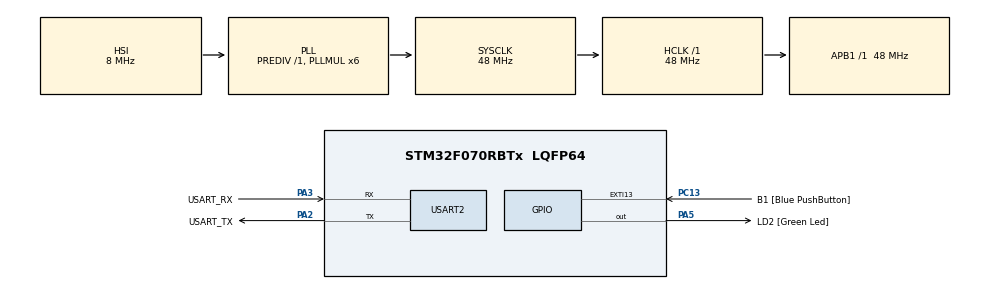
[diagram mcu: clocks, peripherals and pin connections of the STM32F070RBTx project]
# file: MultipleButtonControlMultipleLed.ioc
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Mcu.Family=STM32F0
Mcu.Name=STM32F070RBTx
Mcu.Package=LQFP64
PA13.GPIO_Label=TMS
PA13.Mode=Serial_Wire
PA13.Signal=SYS_SWDIO
PA14.GPIO_Label=TCK
PA14.Mode=Serial_Wire
PA14.Signal=SYS_SWCLK
PA2.GPIO_Label=USART_TX
PA2.Mode=Asynchronous
PA2.Signal=USART2_TX
PA3.GPIO_Label=USART_RX
PA3.Mode=Asynchronous
PA3.Signal=USART2_RX
PA5.GPIO_Label=LD2 [Green Led]
PA5.Signal=GPIO_Output
PC13.GPIO_Label=B1 [Blue PushButton]
PC13.GPIO_ModeDefaultEXTI=GPIO_MODE_IT_FALLING
PC13.Signal=GPXTI13
PC14-OSC32_IN.GPIO_Label=RCC_OSC32_IN
PC14-OSC32_IN.Mode=LSE-External-Oscillator
PC14-OSC32_IN.Signal=RCC_OSC32_IN
PC15-OSC32_OUT.GPIO_Label=RCC_OSC32_OUT
PC15-OSC32_OUT.Mode=LSE-External-Oscillator
PC15-OSC32_OUT.Signal=RCC_OSC32_OUT
PF0-OSC_IN.GPIO_Label=RCC_OSC_IN
PF0-OSC_IN.Mode=HSE-External-Clock-Source
PF0-OSC_IN.Signal=RCC_OSC_IN
PF1-OSC_OUT.GPIO_Label=RCC_OSC_OUT
PF1-OSC_OUT.Signal=RCC_OSC_OUT
ProjectManager.HeapSize=0x200
ProjectManager.StackSize=0x400
ProjectManager.TargetToolchain=STM32CubeIDE
RCC.AHBFreq_Value=48000000
RCC.APB1Freq_Value=48000000
RCC.APB1TimFreq_Value=48000000
RCC.HCLKFreq_Value=48000000
RCC.PLLMUL=RCC_PLL_MUL6
RCC.SYSCLKFreq_VALUE=48000000
RCC.SYSCLKSource=RCC_SYSCLKSOURCE_PLLCLK
USART2.VirtualMode-Asynchronous=VM_ASYNC
board=NUCLEO-F070RB

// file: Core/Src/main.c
/* USER CODE BEGIN Header */
/**
  ******************************************************************************
  * @file           : main.c
  * @brief          : Main program body
  ******************************************************************************
  * @attention
  *
  * <h2><center>&copy; Copyright (c) 2021 STMicroelectronics.
  * All rights reserved.</center></h2>
  *
  * This software component is licensed by ST under BSD 3-Clause license,
  * the "License"; You may not use this file except in compliance with the
  * License. You may obtain a copy of the License at:
  *                        opensource.org/licenses/BSD-3-Clause
  *
  ******************************************************************************
  */
/* USER CODE END Header */
#include "main.h"

UART_HandleTypeDef huart2;

void SystemClock_Config(void);
static void MX_GPIO_Init(void);
static void MX_USART2_UART_Init(void);
/* USER CODE BEGIN PFP */
void GPIO_Config(){
	RCC->AHBENR |= 0x40000; // B port active

	GPIOB->MODER |= 0x00050000; // PB8 and PB9 output mode, PB3 and PB5 input mode
	GPIOB->OTYPER |= 0;
	GPIOB->OSPEEDR |= 0xF0CC0; // PB8, PB9, PB3, PB5 high speed
	GPIOB->PUPDR |= 0;
}
/* USER CODE END PFP */

int main(void)
{

  /* MCU Configuration--------------------------------------------------------*/

  /* Reset of all peripherals, Initializes the Flash interface and the Systick. */
  HAL_Init();

  /* Configure the system clock */
  SystemClock_Config();

  /* Initialize all configured peripherals */
  MX_GPIO_Init();
  MX_USART2_UART_Init();
  /* USER CODE BEGIN 2 */
  GPIO_Config();
  /* USER CODE END 2 */

  /* Infinite loop */
  /* USER CODE BEGIN WHILE */
  while (1)
  {
	  if(GPIOB->IDR & 0x8){
		  GPIOB->ODR = 0x100;
		  HAL_Delay(1000);
		  GPIOB->ODR = 0;
		  HAL_Delay(1000);
	  }
	  else if(GPIOB->IDR & 0x20){
		  GPIOB->ODR = 0x200;
		  HAL_Delay(1000);
		  GPIOB->ODR = 0;
		  HAL_Delay(1000);
	  }
    /* USER CODE END WHILE */

  }
}

void SystemClock_Config(void)
{
  RCC_OscInitTypeDef RCC_OscInitStruct = {0};
  RCC_ClkInitTypeDef RCC_ClkInitStruct = {0};

  /** Initializes the RCC Oscillators according to the specified parameters
  * in the RCC_OscInitTypeDef structure.
  */
  RCC_OscInitStruct.OscillatorType = RCC_OSCILLATORTYPE_HSI;
  RCC_OscInitStruct.HSIState = RCC_HSI_ON;
  RCC_OscInitStruct.HSICalibrationValue = RCC_HSICALIBRATION_DEFAULT;
  RCC_OscInitStruct.PLL.PLLState = RCC_PLL_ON;
  RCC_OscInitStruct.PLL.PLLSource = RCC_PLLSOURCE_HSI;
  RCC_OscInitStruct.PLL.PLLMUL = RCC_PLL_MUL6;
  RCC_OscInitStruct.PLL.PREDIV = RCC_PREDIV_DIV1;
  if (HAL_RCC_OscConfig(&RCC_OscInitStruct) != HAL_OK)
  {
    Error_Handler();
  }
  /** Initializes the CPU, AHB and APB buses clocks
  */
  RCC_ClkInitStruct.ClockType = RCC_CLOCKTYPE_HCLK|RCC_CLOCKTYPE_SYSCLK
                              |RCC_CLOCKTYPE_PCLK1;
  RCC_ClkInitStruct.SYSCLKSource = RCC_SYSCLKSOURCE_PLLCLK;
  RCC_ClkInitStruct.AHBCLKDivider = RCC_SYSCLK_DIV1;
  RCC_ClkInitStruct.APB1CLKDivider = RCC_HCLK_DIV1;

  if (HAL_RCC_ClockConfig(&RCC_ClkInitStruct, FLASH_LATENCY_1) != HAL_OK)
  {
    Error_Handler();
  }
}

static void MX_USART2_UART_Init(void)
{

  huart2.Instance = USART2;
  huart2.Init.BaudRate = 38400;
  huart2.Init.WordLength = UART_WORDLENGTH_8B;
  huart2.Init.StopBits = UART_STOPBITS_1;
  huart2.Init.Parity = UART_PARITY_NONE;
  huart2.Init.Mode = UART_MODE_TX_RX;
  huart2.Init.HwFlowCtl = UART_HWCONTROL_NONE;
  huart2.Init.OverSampling = UART_OVERSAMPLING_16;
  huart2.Init.OneBitSampling = UART_ONE_BIT_SAMPLE_DISABLE;
  huart2.AdvancedInit.AdvFeatureInit = UART_ADVFEATURE_NO_INIT;
  if (HAL_UART_Init(&huart2) != HAL_OK)
  {
    Error_Handler();
  }

}

static void MX_GPIO_Init(void)
{
  GPIO_InitTypeDef GPIO_InitStruct = {0};

  /* GPIO Ports Clock Enable */
  __HAL_RCC_GPIOC_CLK_ENABLE();
  __HAL_RCC_GPIOF_CLK_ENABLE();
  __HAL_RCC_GPIOA_CLK_ENABLE();

  /*Configure GPIO pin Output Level */
  HAL_GPIO_WritePin(LD2_GPIO_Port, LD2_Pin, GPIO_PIN_RESET);

  /*Configure GPIO pin : B1_Pin */
  GPIO_InitStruct.Pin = B1_Pin;
  GPIO_InitStruct.Mode = GPIO_MODE_IT_FALLING;
  GPIO_InitStruct.Pull = GPIO_NOPULL;
  HAL_GPIO_Init(B1_GPIO_Port, &GPIO_InitStruct);

  /*Configure GPIO pin : LD2_Pin */
  GPIO_InitStruct.Pin = LD2_Pin;
  GPIO_InitStruct.Mode = GPIO_MODE_OUTPUT_PP;
  GPIO_InitStruct.Pull = GPIO_NOPULL;
  GPIO_InitStruct.Speed = GPIO_SPEED_FREQ_LOW;
  HAL_GPIO_Init(LD2_GPIO_Port, &GPIO_InitStruct);

}

void Error_Handler(void)
{
  __disable_irq();
  while (1)
  {
  }
}

/************************ (C) COPYRIGHT STMicroelectronics *****END OF FILE****/
